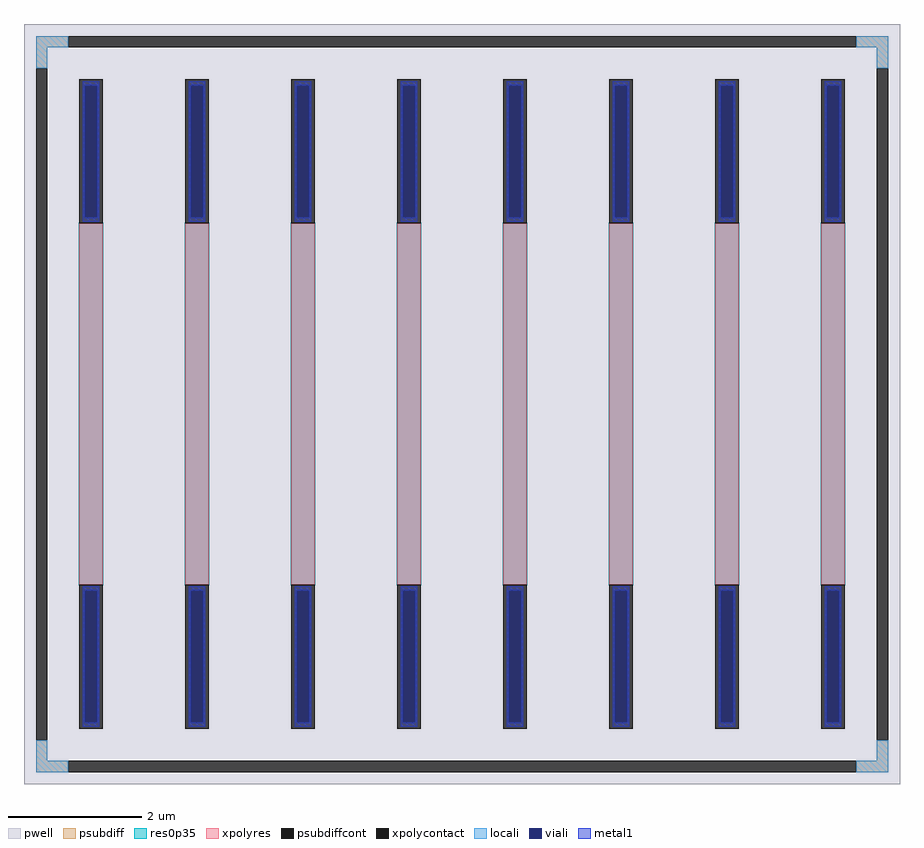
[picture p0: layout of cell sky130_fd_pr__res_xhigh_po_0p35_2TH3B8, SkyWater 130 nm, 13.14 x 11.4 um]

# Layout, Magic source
magic
tech sky130A
magscale 1 2
<< pwell >>
rect -1314 -1140 1314 1140
<< psubdiff >>
rect -1278 1070 -1182 1104
rect 1182 1070 1278 1104
rect -1278 1008 -1244 1070
rect 1244 1008 1278 1070
rect -1278 -1070 -1244 -1008
rect 1244 -1070 1278 -1008
rect -1278 -1104 -1182 -1070
rect 1182 -1104 1278 -1070
<< psubdiffcont >>
rect -1182 1070 1182 1104
rect -1278 -1008 -1244 1008
rect 1244 -1008 1278 1008
rect -1182 -1104 1182 -1070
<< xpolycontact >>
rect -1148 542 -1078 974
rect -1148 -974 -1078 -542
rect -830 542 -760 974
rect -830 -974 -760 -542
rect -512 542 -442 974
rect -512 -974 -442 -542
rect -194 542 -124 974
rect -194 -974 -124 -542
rect 124 542 194 974
rect 124 -974 194 -542
rect 442 542 512 974
rect 442 -974 512 -542
rect 760 542 830 974
rect 760 -974 830 -542
rect 1078 542 1148 974
rect 1078 -974 1148 -542
<< xpolyres >>
rect -1148 -542 -1078 542
rect -830 -542 -760 542
rect -512 -542 -442 542
rect -194 -542 -124 542
rect 124 -542 194 542
rect 442 -542 512 542
rect 760 -542 830 542
rect 1078 -542 1148 542
<< locali >>
rect -1278 1070 -1182 1104
rect 1182 1070 1278 1104
rect -1278 1008 -1244 1070
rect 1244 1008 1278 1070
rect -1278 -1070 -1244 -1008
rect 1244 -1070 1278 -1008
rect -1278 -1104 -1182 -1070
rect 1182 -1104 1278 -1070
<< viali >>
rect -1132 559 -1094 956
rect -814 559 -776 956
rect -496 559 -458 956
rect -178 559 -140 956
rect 140 559 178 956
rect 458 559 496 956
rect 776 559 814 956
rect 1094 559 1132 956
rect -1132 -956 -1094 -559
rect -814 -956 -776 -559
rect -496 -956 -458 -559
rect -178 -956 -140 -559
rect 140 -956 178 -559
rect 458 -956 496 -559
rect 776 -956 814 -559
rect 1094 -956 1132 -559
<< metal1 >>
rect -1138 956 -1088 968
rect -1138 559 -1132 956
rect -1094 559 -1088 956
rect -1138 547 -1088 559
rect -820 956 -770 968
rect -820 559 -814 956
rect -776 559 -770 956
rect -820 547 -770 559
rect -502 956 -452 968
rect -502 559 -496 956
rect -458 559 -452 956
rect -502 547 -452 559
rect -184 956 -134 968
rect -184 559 -178 956
rect -140 559 -134 956
rect -184 547 -134 559
rect 134 956 184 968
rect 134 559 140 956
rect 178 559 184 956
rect 134 547 184 559
rect 452 956 502 968
rect 452 559 458 956
rect 496 559 502 956
rect 452 547 502 559
rect 770 956 820 968
rect 770 559 776 956
rect 814 559 820 956
rect 770 547 820 559
rect 1088 956 1138 968
rect 1088 559 1094 956
rect 1132 559 1138 956
rect 1088 547 1138 559
rect -1138 -559 -1088 -547
rect -1138 -956 -1132 -559
rect -1094 -956 -1088 -559
rect -1138 -968 -1088 -956
rect -820 -559 -770 -547
rect -820 -956 -814 -559
rect -776 -956 -770 -559
rect -820 -968 -770 -956
rect -502 -559 -452 -547
rect -502 -956 -496 -559
rect -458 -956 -452 -559
rect -502 -968 -452 -956
rect -184 -559 -134 -547
rect -184 -956 -178 -559
rect -140 -956 -134 -559
rect -184 -968 -134 -956
rect 134 -559 184 -547
rect 134 -956 140 -559
rect 178 -956 184 -559
rect 134 -968 184 -956
rect 452 -559 502 -547
rect 452 -956 458 -559
rect 496 -956 502 -559
rect 452 -968 502 -956
rect 770 -559 820 -547
rect 770 -956 776 -559
rect 814 -956 820 -559
rect 770 -968 820 -956
rect 1088 -559 1138 -547
rect 1088 -956 1094 -559
rect 1132 -956 1138 -559
rect 1088 -968 1138 -956
<< res0p35 >>
rect -1150 -544 -1076 544
rect -832 -544 -758 544
rect -514 -544 -440 544
rect -196 -544 -122 544
rect 122 -544 196 544
rect 440 -544 514 544
rect 758 -544 832 544
rect 1076 -544 1150 544
<< properties >>
string FIXED_BBOX -1261 -1087 1261 1087
string gencell sky130_fd_pr__res_xhigh_po_0p35
string library sky130
string parameters w 0.350 l 5.42 m 1 nx 8 wmin 0.350 lmin 0.50 rho 2000 val 32.046k dummy 0 dw 0.0 term 188.2 sterm 0.0 caplen 0 wmax 0.350 guard 1 glc 1 grc 1 gtc 1 gbc 1 compatible {sky130_fd_pr__res_xhigh_po_0p35  sky130_fd_pr__res_xhigh_po_0p69 sky130_fd_pr__res_xhigh_po_1p41  sky130_fd_pr__res_xhigh_po_2p85 sky130_fd_pr__res_xhigh_po_5p73} full_metal 1 n_guard 0 hv_guard 0 vias 1 viagb 0 viagt 0 viagl 0 viagr 0
<< end >>
